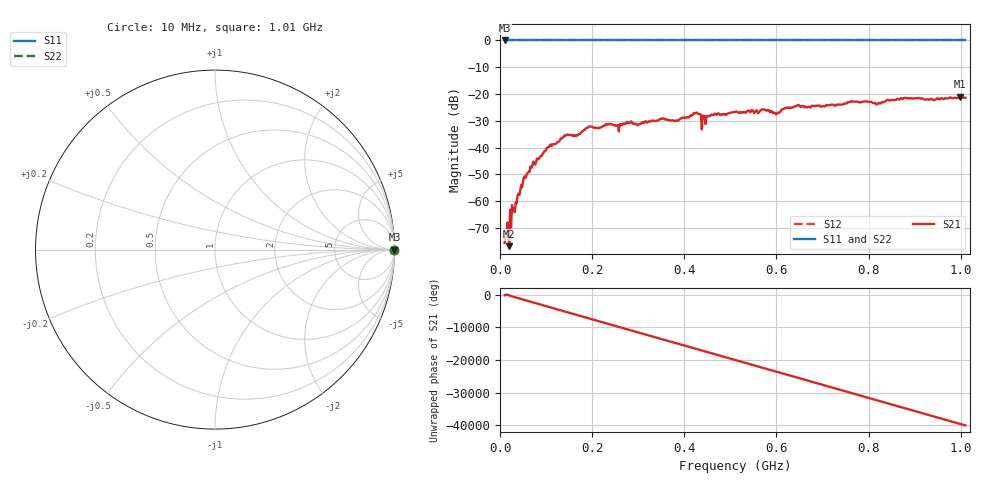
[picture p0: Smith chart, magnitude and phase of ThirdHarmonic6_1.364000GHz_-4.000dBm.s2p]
! 8/16/2025 3:24:51 PM
! C:\ANRITSUVNA\TEMP\TEMP.S2P
! CHANNEL.1
! TR.MEASUREMENT
! RAW.DATA
! RF.CORRECTION.OFF
! AVERAGING.OFF
! IF.BANDWIDTH: 5KHZ
! SWEEPTYPE:  FREQ.SWEEP(Linear)
! Reference Plane Port Info
! PORT:  PORT1  PORT2
! DISTANCE:  0  m  0  m
! TIME:  0  s  0  s
! PHASE.OFFSET:  0  deg.  0  deg.
! LOSS:  0  dB  0  dB
! REF.LOSS:  0  dB  0  dB
! REF.FREQ:  0  Hz  0  Hz
! Power Info
! POWER:  -20  dBm  -20  dBm
! EFF.POWER:  -20  dBm  -20  dBm
! SOURCE.ATTEN:  0  dB  0  dB
! TEST.ATTEN:  0  dB  0  dB
# GHZ S RI R 50.0
! FREQ.GHZ  S11RE  S11IM  S21RE  S21IM  S12RE  S12IM  S22RE  S22IM
!; PortSelection: Port_12
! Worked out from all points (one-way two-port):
!   501 points, 10 MHz to 1.01 GHz, reference 50 ohm
!   highest |S21| = -20.98 dB at 998 MHz (marker M1); lowest = -76.8 dB at 20 MHz (marker M2)
!   lowest |S11| = 0.0 dB at 10 MHz (marker M3)
!   |S11| at or under -10 dB: nowhere
!   |S22| runs from 0.0 to 0.0 dB; largest |S21 - S12| = 1.1
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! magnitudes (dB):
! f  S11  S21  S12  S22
! 10 MHz  0.0  -75.6  0.0  0.0
! 20 MHz  0.0  -76.8  0.0  0.0
! 26 MHz  0.0  -61.5  0.0  0.0
! 50 MHz  0.0  -52.6  0.0  0.0
! 70 MHz  0.0  -47.0  0.0  0.0
! 106 MHz  0.0  -39.8  0.0  0.0
! 144 MHz  0.0  -35.3  0.0  0.0
! 178 MHz  0.0  -34.0  0.0  0.0
! 196 MHz  0.0  -32.1  0.0  0.0
! 344 MHz  0.0  -29.8  0.0  0.0
! 384 MHz  0.0  -29.9  0.0  0.0
! 424 MHz  0.0  -27.2  0.0  0.0
! 442 MHz  0.0  -28.2  0.0  0.0
! 462 MHz  0.0  -27.8  0.0  0.0
! 510 MHz  0.0  -26.7  0.0  0.0
! 572 MHz  0.0  -25.7  0.0  0.0
! 602 MHz  0.0  -27.0  0.0  0.0
! 644 MHz  0.0  -24.5  0.0  0.0
! 678 MHz  0.0  -24.4  0.0  0.0
! 844 MHz  0.0  -22.4  0.0  0.0
! 998 MHz  0.0  -21.0  0.0  0.0
! 1.01 GHz  0.0  -21.4  0.0  0.0
